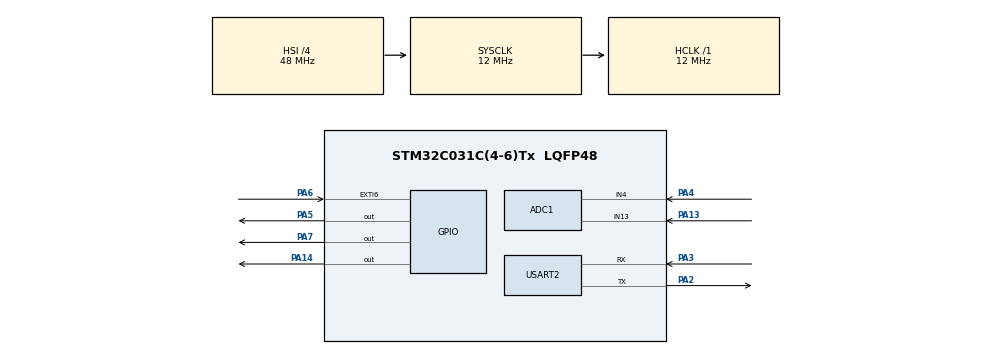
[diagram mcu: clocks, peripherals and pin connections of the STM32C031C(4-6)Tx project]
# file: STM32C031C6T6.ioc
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ADC1.ClockPrescaler=ADC_CLOCK_SYNC_PCLK_DIV4
ADC1.NbrOfConversionFlag=0
ADC1.Overrun=ADC_OVR_DATA_PRESERVED
ADC1.SamplingTimeCommon1=ADC_SAMPLETIME_160CYCLES_5
ADC1.SelectedChannel=ADC_CHANNEL_4|ADC_CHANNEL_13
ADC1.master=1
Mcu.Family=STM32C0
Mcu.Name=STM32C031C(4-6)Tx
Mcu.Package=LQFP48
NVIC.EXTI4_15_IRQn=true\:0\:0\:false\:false\:true\:true\:true\:true
PA13.Mode=IN13
PA13.Signal=ADC1_IN13
PA14-BOOT0.Signal=GPIO_Output
PA2.Mode=Asynchronous
PA2.Signal=USART2_TX
PA3.Mode=Asynchronous
PA3.Signal=USART2_RX
PA4.Mode=IN4
PA4.Signal=ADC1_IN4
PA5.Signal=GPIO_Output
PA6.GPIO_ModeDefaultEXTI=GPIO_MODE_IT_FALLING
PA6.GPIO_PuPd=GPIO_PULLUP
PA6.Signal=GPXTI6
PA7.Signal=GPIO_Output
ProjectManager.HeapSize=0x200
ProjectManager.StackSize=0x400
ProjectManager.TargetToolchain=STM32CubeIDE
RCC.ADCFreq_Value=12000000
RCC.AHBFreq_Value=12000000
RCC.CortexFreq_Value=12000000
RCC.EXTERNAL_CLOCK_VALUE=12288000
RCC.HCLKFreq_Value=12000000
RCC.HSE_VALUE=8000000
RCC.HSI_VALUE=48000000
RCC.LSE_VALUE=32768
RCC.SYSCLKFreq_VALUE=12000000
USART2.VirtualMode-Asynchronous=VM_ASYNC
board=custom

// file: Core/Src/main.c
/* USER CODE BEGIN Header */
/**
  ******************************************************************************
  * @file           : main.c
  * @brief          : Main program body
  ******************************************************************************
  * @attention
  *
  * Copyright (c) 2025 STMicroelectronics.
  * All rights reserved.
  *
  * This software is licensed under terms that can be found in the LICENSE file
  * in the root directory of this software component.
  * If no LICENSE file comes with this software, it is provided AS-IS.
  *
  ******************************************************************************
  */
/* USER CODE END Header */
#include "main.h"

/* USER CODE BEGIN Includes */
#include <string.h>
#include <stdio.h>
#include <math.h>
/* USER CODE END Includes */

/* USER CODE BEGIN PD */
#define LED_PORT GPIOA
#define LED_PIN GPIO_PIN_7
#define LED_PIN_2 GPIO_PIN_5
#define LED_PIN_3 GPIO_PIN_14
#define BUTTON_PIN GPIO_PIN_6
#define DEBOUNCE_DELAY 50 // 50 ms
#define INTERVAL 500 // 500 ms
#define INTERVAL_ADC 1000 // 1s
#define R0 10000.0f
#define T0 298.15f // 25 C dalam Kelvin
#define BETA 3950.0f
#define R_FIXED 10000.0f // Nilai resistor tetap
#define M_SLOPE -0.7f // Gradien garis log-log
#define B_INTERCEPT 5.39897f // Intercept garis log-log (disesuaikan)
// #define GAMMA 0.7f // Dari dokumentasi wokwi untuk pembacaan LDR
// #define RL10 50.0f
/* USER CODE END PD */

ADC_HandleTypeDef hadc1;

UART_HandleTypeDef huart2;

/* USER CODE BEGIN PV */
volatile uint8_t buttonState = 0;
volatile uint32_t lastInterruptTime = 0;
/* USER CODE END PV */

void SystemClock_Config(void);
static void MX_GPIO_Init(void);
static void MX_USART2_UART_Init(void);
static void MX_ADC1_Init(void);

int main(void)
{

  /* MCU Configuration--------------------------------------------------------*/

  /* Reset of all peripherals, Initializes the Flash interface and the Systick. */
  HAL_Init();

  /* Configure the system clock */
  SystemClock_Config();

  /* Initialize all configured peripherals */
  MX_GPIO_Init();
  MX_USART2_UART_Init();
  MX_ADC1_Init();
  /* USER CODE BEGIN 2 */
  uint32_t increment = 1, previousMillis = 0, previousAdcMillis = 0, currentMillis, buttonPressTime = 0;
  uint16_t ldrAdcValue = 0, ntcAdcValue = 0;
  float voltageLdr, resistanceLdr, lux, voltageNtc, resistanceNtc, tempKelvin, tempCelsius;
  uint8_t message[] = "Halo dari STM32!", messageBuffer[144], debug[] = "***\r\nIni adalah interupsi\r\n^^^\r\n", debouncingState = 0;
  /* USER CODE END 2 */

  /* Infinite loop */
  /* USER CODE BEGIN WHILE */
  while (1) {
    currentMillis = HAL_GetTick();
    if (currentMillis - previousMillis >= INTERVAL) {
      previousMillis = currentMillis;

      HAL_GPIO_TogglePin(LED_PORT, LED_PIN);
    }

    // Cek apakah tombol ditekan
    if (buttonState) {
      buttonState = 0; // Reset state tombol
      debouncingState = 1; // Masuk ke mode debounce
      buttonPressTime = HAL_GetTick(); // Catat waktu mulai debounce
    }

    if (debouncingState && (currentMillis - buttonPressTime > DEBOUNCE_DELAY)) {
      debouncingState = 0; // Keluar dari mode debounce

      // Verifikasi pin setelah debounce selesai
      if (HAL_GPIO_ReadPin(GPIOA, BUTTON_PIN) == GPIO_PIN_RESET) {
        // Aksi utama tombol
        HAL_GPIO_TogglePin(LED_PORT, LED_PIN_2);
        HAL_UART_Transmit(&huart2, debug, strlen((char*)debug), HAL_MAX_DELAY);
      }
    }
    /* USER CODE END WHILE */

    /* USER CODE BEGIN 3 */
    if (currentMillis - previousAdcMillis >= INTERVAL_ADC) {
      previousAdcMillis = currentMillis;

      snprintf((char*)messageBuffer, sizeof(messageBuffer), "%s %lu\r\n", message, increment);
      increment++;
      HAL_UART_Transmit(&huart2, messageBuffer, strlen((char*)messageBuffer), HAL_MAX_DELAY);

      HAL_ADC_Start(&hadc1);
      HAL_ADC_PollForConversion(&hadc1, HAL_MAX_DELAY);
      ldrAdcValue = HAL_ADC_GetValue(&hadc1);
      HAL_ADC_PollForConversion(&hadc1, HAL_MAX_DELAY);
      ntcAdcValue = HAL_ADC_GetValue(&hadc1);
      HAL_ADC_Stop(&hadc1);

      // Konfersi data digital ke lux
      // Referensi tegangan biasanya 3.3V dan resolusi 12-bit (2^12 - 1 = 4095)
      voltageLdr = (float)ldrAdcValue / 4095.0f * 3.3f;
      // resistanceLdr = (R_FIXED * (3.3f - voltageLdr)) / voltageLdr; // Kalau sensor dekat dengan Vin
      resistanceLdr = R_FIXED * (voltageLdr / (3.3f - voltageLdr)); // Kalau sensor dekat dengan GND
      lux = powf(10.0f, (log10f(resistanceLdr) - B_INTERCEPT) / M_SLOPE);
      // Cara dari wokwi
      // resistanceLdr = 3030.3f * voltageLdr / (1.0f - voltageLdr / 3.3f); // Kalau 3.3 diubah jadi 5, maka 3030.3 diubah juga jadi 2000
      // lux = powf(RL10 * 1e3 * powf(10.0f, GAMMA) / resistanceLdr, (1.0f / GAMMA));
      voltageLdr = voltageLdr * 100.0f;
      lux = lux * 100.0f;

      if (ldrAdcValue > 3000) { // Kalau gelap
        HAL_GPIO_WritePin(LED_PORT, LED_PIN_3, GPIO_PIN_SET);
      } else { // Kalau terang
        HAL_GPIO_WritePin(LED_PORT, LED_PIN_3, GPIO_PIN_RESET);
      }

      // Konversi data digital ke suhu
      voltageNtc = (float)ntcAdcValue / 4095.0f * 3.3f;
      resistanceNtc = R_FIXED * (voltageNtc / (3.3f - voltageNtc));
      tempKelvin = 1.0f / ((1.0f / T0) + (1.0f / BETA) * logf(resistanceNtc / R0));
      tempCelsius = (tempKelvin - 273.15f);
      // Cara dari wokwi
      // tempCelsius = 1.0f / (logf(1.0f / (4095.0f / ntcAdcValue - 1.0f)) / BETA + 1.0f / 298.15f) - 273.15f;
      tempCelsius = tempCelsius * 100.0f;

      snprintf((char*)messageBuffer, sizeof(messageBuffer), "---\r\nNilai digital LDR : %u\r\nTegangan LDR : %ue-2 V\r\nLux : %lue-2 lx\r\nNilai digital NTC : %u\r\nTemperature : %de-2°C\r\n^^^\r\n", ldrAdcValue, (uint16_t)voltageLdr, (uint32_t)lux, ntcAdcValue, (int16_t)tempCelsius);
      HAL_UART_Transmit(&huart2, messageBuffer, strlen((char*)messageBuffer), HAL_MAX_DELAY);
    }
  }
  /* USER CODE END 3 */
}

void SystemClock_Config(void)
{
  RCC_OscInitTypeDef RCC_OscInitStruct = {0};
  RCC_ClkInitTypeDef RCC_ClkInitStruct = {0};

  __HAL_FLASH_SET_LATENCY(FLASH_LATENCY_0);

  /** Initializes the RCC Oscillators according to the specified parameters
  * in the RCC_OscInitTypeDef structure.
  */
  RCC_OscInitStruct.OscillatorType = RCC_OSCILLATORTYPE_HSI;
  RCC_OscInitStruct.HSIState = RCC_HSI_ON;
  RCC_OscInitStruct.HSIDiv = RCC_HSI_DIV4;
  RCC_OscInitStruct.HSICalibrationValue = RCC_HSICALIBRATION_DEFAULT;
  if (HAL_RCC_OscConfig(&RCC_OscInitStruct) != HAL_OK)
  {
    Error_Handler();
  }

  /** Initializes the CPU, AHB and APB buses clocks
  */
  RCC_ClkInitStruct.ClockType = RCC_CLOCKTYPE_HCLK|RCC_CLOCKTYPE_SYSCLK
                              |RCC_CLOCKTYPE_PCLK1;
  RCC_ClkInitStruct.SYSCLKSource = RCC_SYSCLKSOURCE_HSI;
  RCC_ClkInitStruct.SYSCLKDivider = RCC_SYSCLK_DIV1;
  RCC_ClkInitStruct.AHBCLKDivider = RCC_HCLK_DIV1;
  RCC_ClkInitStruct.APB1CLKDivider = RCC_APB1_DIV1;

  if (HAL_RCC_ClockConfig(&RCC_ClkInitStruct, FLASH_LATENCY_0) != HAL_OK)
  {
    Error_Handler();
  }
}

static void MX_ADC1_Init(void)
{

  ADC_ChannelConfTypeDef sConfig = {0};

  /** Configure the global features of the ADC (Clock, Resolution, Data Alignment and number of conversion)
  */
  hadc1.Instance = ADC1;
  hadc1.Init.ClockPrescaler = ADC_CLOCK_SYNC_PCLK_DIV4;
  hadc1.Init.Resolution = ADC_RESOLUTION_12B;
  hadc1.Init.DataAlign = ADC_DATAALIGN_RIGHT;
  hadc1.Init.ScanConvMode = ADC_SCAN_SEQ_FIXED;
  hadc1.Init.EOCSelection = ADC_EOC_SINGLE_CONV;
  hadc1.Init.LowPowerAutoWait = DISABLE;
  hadc1.Init.LowPowerAutoPowerOff = DISABLE;
  hadc1.Init.ContinuousConvMode = DISABLE;
  hadc1.Init.NbrOfConversion = 1;
  hadc1.Init.DiscontinuousConvMode = DISABLE;
  hadc1.Init.ExternalTrigConv = ADC_SOFTWARE_START;
  hadc1.Init.ExternalTrigConvEdge = ADC_EXTERNALTRIGCONVEDGE_NONE;
  hadc1.Init.DMAContinuousRequests = DISABLE;
  hadc1.Init.Overrun = ADC_OVR_DATA_PRESERVED;
  hadc1.Init.SamplingTimeCommon1 = ADC_SAMPLETIME_160CYCLES_5;
  hadc1.Init.OversamplingMode = DISABLE;
  hadc1.Init.TriggerFrequencyMode = ADC_TRIGGER_FREQ_HIGH;
  if (HAL_ADC_Init(&hadc1) != HAL_OK)
  {
    Error_Handler();
  }

  /** Configure Regular Channel
  */
  sConfig.Channel = ADC_CHANNEL_4;
  sConfig.Rank = ADC_RANK_CHANNEL_NUMBER;
  if (HAL_ADC_ConfigChannel(&hadc1, &sConfig) != HAL_OK)
  {
    Error_Handler();
  }

  /** Configure Regular Channel
  */
  sConfig.Channel = ADC_CHANNEL_13;
  if (HAL_ADC_ConfigChannel(&hadc1, &sConfig) != HAL_OK)
  {
    Error_Handler();
  }

}

static void MX_USART2_UART_Init(void)
{

  huart2.Instance = USART2;
  huart2.Init.BaudRate = 115200;
  huart2.Init.WordLength = UART_WORDLENGTH_8B;
  huart2.Init.StopBits = UART_STOPBITS_1;
  huart2.Init.Parity = UART_PARITY_NONE;
  huart2.Init.Mode = UART_MODE_TX_RX;
  huart2.Init.HwFlowCtl = UART_HWCONTROL_NONE;
  huart2.Init.OverSampling = UART_OVERSAMPLING_16;
  huart2.Init.OneBitSampling = UART_ONE_BIT_SAMPLE_DISABLE;
  huart2.Init.ClockPrescaler = UART_PRESCALER_DIV1;
  huart2.AdvancedInit.AdvFeatureInit = UART_ADVFEATURE_NO_INIT;
  if (HAL_UART_Init(&huart2) != HAL_OK)
  {
    Error_Handler();
  }

}

static void MX_GPIO_Init(void)
{
  GPIO_InitTypeDef GPIO_InitStruct = {0};

  /* GPIO Ports Clock Enable */
  __HAL_RCC_GPIOA_CLK_ENABLE();

  /*Configure GPIO pin Output Level */
  HAL_GPIO_WritePin(GPIOA, GPIO_PIN_5|GPIO_PIN_7|GPIO_PIN_14, GPIO_PIN_RESET);

  /*Configure GPIO pins : PA5 PA7 PA14 */
  GPIO_InitStruct.Pin = GPIO_PIN_5|GPIO_PIN_7|GPIO_PIN_14;
  GPIO_InitStruct.Mode = GPIO_MODE_OUTPUT_PP;
  GPIO_InitStruct.Pull = GPIO_NOPULL;
  GPIO_InitStruct.Speed = GPIO_SPEED_FREQ_LOW;
  HAL_GPIO_Init(GPIOA, &GPIO_InitStruct);

  /*Configure GPIO pin : PA6 */
  GPIO_InitStruct.Pin = GPIO_PIN_6;
  GPIO_InitStruct.Mode = GPIO_MODE_IT_FALLING;
  GPIO_InitStruct.Pull = GPIO_PULLUP;
  HAL_GPIO_Init(GPIOA, &GPIO_InitStruct);

  /* EXTI interrupt init*/
  HAL_NVIC_SetPriority(EXTI4_15_IRQn, 0, 0);
  HAL_NVIC_EnableIRQ(EXTI4_15_IRQn);

}

/* USER CODE BEGIN 4 */
void HAL_GPIO_EXTI_Falling_Callback(uint16_t GPIO_Pin) {
  // Cek pin mana yang memicu interupsi
  if (GPIO_Pin == BUTTON_PIN) {
    // Cek apakah sudah cukup waktu sejak interupsi terakhir (debounce awal)
    if (HAL_GetTick() - lastInterruptTime > DEBOUNCE_DELAY) {
      buttonState = 1; // Ubah state tombol
      lastInterruptTime = HAL_GetTick(); // Catat waktu interupsi
    }
  }
}
/* USER CODE END 4 */

void Error_Handler(void)
{
  __disable_irq();
  while (1)
  {
  }
}
